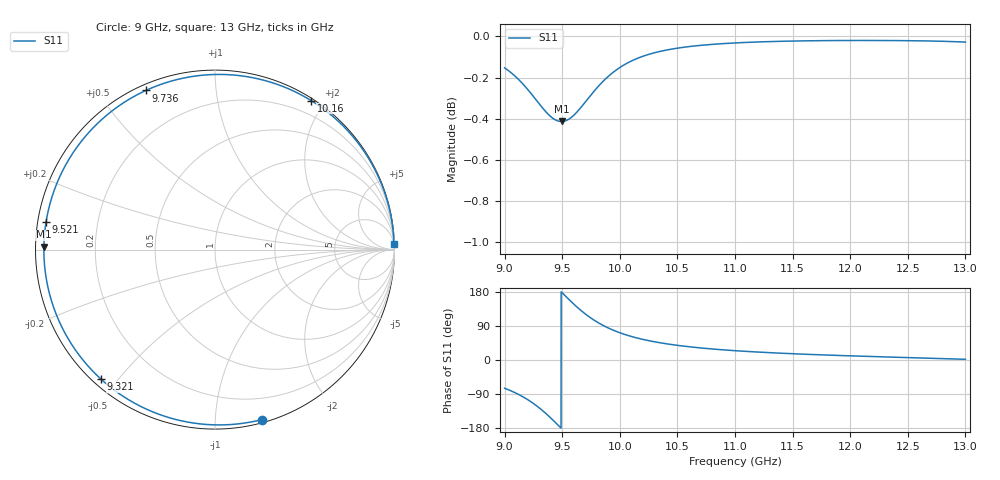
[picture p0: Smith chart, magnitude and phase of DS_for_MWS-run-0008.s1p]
! TOUCHSTONE file generated by CST DESIGN STUDIO
! Date and time: Tue Feb  4 17:03:23 2025
! Project name: C:\Work\MatlabApps\UnitCellOptimizationMatlab\CST\unitcell.cst
! Tree item: Tasks\Sweep1\SPara1\S-Parameters
! Header version: 2024
! Port assignment regex: !\s*Touchstone port\s*([0-9]+)\s*=\s*(CST MWS port|CST DES external port|CST DES block port)\s*(.+)\s* \(\"(.*)\"\)(\s*mode\s*([0-9]+))?.*
! Touchstone port assignment:
! Touchstone port 1 = CST DES external port 1 ("")
# GHz S MA R 50
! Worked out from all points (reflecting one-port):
!   4001 points, 9 GHz to 13 GHz, reference 50 ohm
!   lowest |S11| = -0.4 dB at 9.494 GHz (marker M1), VSWR 42.04, Z = 1.19 + j0.413 ohm
!   phase of S11 starts at -75 deg and turns -284 deg over the sweep
!   S11 on the Smith chart (normalised r, x): 9 GHz: 0.02, -1.31; 9.321 GHz: 0.02, -0.45; 9.521 GHz: 0.02, +0.08; 9.736 GHz: 0.02, +0.66; 10.16 GHz: 0.03, +1.83; 13 GHz: 6, +62
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9  0.9826 -74.6
9.085  0.9784 -85.5
9.186  0.9719 -101.9
9.256  0.9665 -116.0
9.321  0.9614 -131.4
9.367  0.9581 -143.5
9.416  0.9554 -157.5
9.456  0.954 -169.4
9.494  0.9535 179.1
9.5  0.9535 177.2
9.521  0.9538 170.8
9.573  0.9554 155.3
9.632  0.9589 138.8
9.683  0.9626 125.7
9.736  0.9667 113.5
9.789  0.9707 102.8
9.848  0.9748 92.4
9.923  0.9792 81.3
10  0.9828 71.9
10.161  0.988 57.2
10.315  0.9912 47.3
10.5  0.9935 38.7
10.722  0.9952 31.2
11  0.9964 24.6
11.5  0.9974 16.5
12  0.9978 10.9
12.5  0.9976 6.4
13  0.9968 1.8
